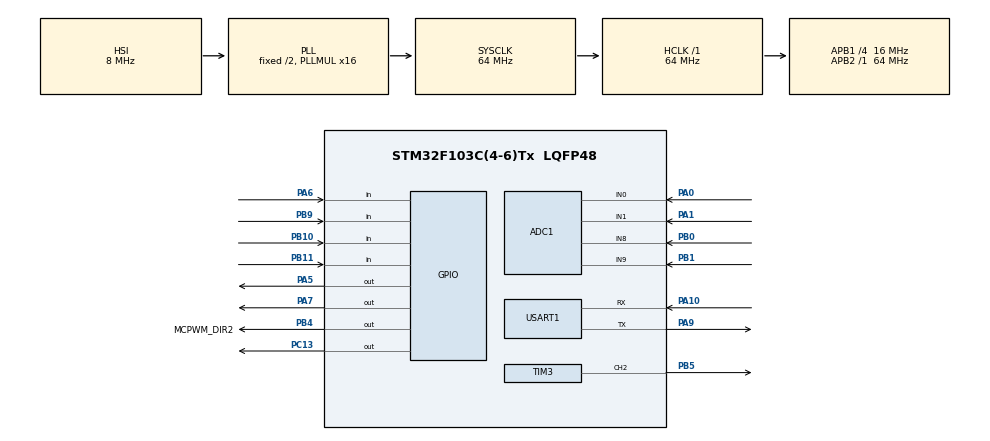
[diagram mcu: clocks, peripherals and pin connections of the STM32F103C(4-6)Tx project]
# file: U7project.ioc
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ADC1.Channel-6\#ChannelRegularConversion=ADC_CHANNEL_8
ADC1.NbrOfConversionFlag=1
ADC1.Rank-6\#ChannelRegularConversion=1
ADC1.SamplingTime-6\#ChannelRegularConversion=ADC_SAMPLETIME_1CYCLE_5
ADC1.master=1
Dma.Request0=USART1_RX
Dma.USART1_RX.0.Direction=DMA_PERIPH_TO_MEMORY
Dma.USART1_RX.0.Instance=DMA1_Channel5
Dma.USART1_RX.0.MemDataAlignment=DMA_MDATAALIGN_BYTE
Dma.USART1_RX.0.MemInc=DMA_MINC_ENABLE
Dma.USART1_RX.0.Mode=DMA_CIRCULAR
Dma.USART1_RX.0.PeriphDataAlignment=DMA_PDATAALIGN_BYTE
Dma.USART1_RX.0.PeriphInc=DMA_PINC_DISABLE
Dma.USART1_RX.0.Priority=DMA_PRIORITY_LOW
Mcu.Family=STM32F1
Mcu.Name=STM32F103C(4-6)Tx
Mcu.Package=LQFP48
NVIC.DMA1_Channel5_IRQn=true\:0\:0\:false\:false\:true\:false\:true\:true
NVIC.PriorityGroup=NVIC_PRIORITYGROUP_4
NVIC.TIM3_IRQn=true\:0\:0\:false\:false\:true\:true\:true\:true
NVIC.USART1_IRQn=true\:0\:0\:false\:false\:true\:true\:true\:true
PA0-WKUP.Signal=ADCx_IN0
PA1.Signal=ADCx_IN1
PA10.Mode=Asynchronous
PA10.Signal=USART1_RX
PA13.Mode=Serial_Wire
PA13.Signal=SYS_JTMS-SWDIO
PA14.Mode=Serial_Wire
PA14.Signal=SYS_JTCK-SWCLK
PA2.Signal=USART2_TX
PA5.PinState=GPIO_PIN_SET
PA5.Signal=GPIO_Output
PA6.Signal=GPIO_Input
PA7.Signal=GPIO_Output
PA9.Mode=Asynchronous
PA9.Signal=USART1_TX
PB0.Signal=ADCx_IN8
PB1.Signal=ADCx_IN9
PB10.Signal=GPIO_Input
PB11.Signal=GPIO_Input
PB4.GPIO_Label=MCPWM_DIR2
PB4.Signal=GPIO_Output
PB5.Signal=S_TIM3_CH2
PB9.Signal=GPIO_Input
PC13-TAMPER-RTC.Signal=GPIO_Output
ProjectManager.HeapSize=0x200
ProjectManager.StackSize=0x400
ProjectManager.TargetToolchain=MDK-ARM V5.32
RCC.ADCPresc=RCC_ADCPCLK2_DIV8
RCC.AHBFreq_Value=64000000
RCC.APB1CLKDivider=RCC_HCLK_DIV4
RCC.APB1Freq_Value=16000000
RCC.APB1TimFreq_Value=32000000
RCC.APB2Freq_Value=64000000
RCC.APB2TimFreq_Value=64000000
RCC.HCLKFreq_Value=64000000
RCC.PLLMUL=RCC_PLL_MUL16
RCC.SYSCLKFreq_VALUE=64000000
RCC.SYSCLKSource=RCC_SYSCLKSOURCE_PLLCLK
RCC.USBFreq_Value=64000000
SH.ADCx_IN0.0=ADC1_IN0,IN0
SH.ADCx_IN1.0=ADC1_IN1,IN1
SH.ADCx_IN8.0=ADC1_IN8,IN8
SH.ADCx_IN9.0=ADC1_IN9,IN9
SH.S_TIM3_CH2.0=TIM3_CH2,PWM Generation2 CH2
TIM3.Channel-PWM\ Generation2\ CH2=TIM_CHANNEL_2
TIM3.Period=6399
TIM3.Pulse-PWM\ Generation2\ CH2=3200
USART1.VirtualMode=VM_ASYNC
VP_ADC1_Vref_Input.Mode=IN-Vrefint
board=custom

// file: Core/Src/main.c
/* USER CODE BEGIN Header */
/**
  ******************************************************************************
  * @file           : main.c
  * @brief          : Main program body
  ******************************************************************************
  * @attention
  *
  * Copyright (c) 2026 STMicroelectronics.
  * All rights reserved.
  *
  * This software is licensed under terms that can be found in the LICENSE file
  * in the root directory of this software component.
  * If no LICENSE file comes with this software, it is provided AS-IS.
  *
  ******************************************************************************
  */
/* USER CODE END Header */
#include "main.h"
#include "adc.h"
#include "dma.h"
#include "tim.h"
#include "usart.h"
#include "gpio.h"

/* USER CODE BEGIN Includes */
#include "bsp_gpio.h"
#include "bsp_uart.h"
#include "bsp_tmc2209.h"
#include "bsp_motor.h"
#include "bsp_adc.h"
#include "protocol.h"
/* USER CODE END Includes */

void SystemClock_Config(void);

int main(void)
{

  /* MCU Configuration--------------------------------------------------------*/

  /* Reset of all peripherals, Initializes the Flash interface and the Systick. */
  HAL_Init();

  /* Configure the system clock */
  SystemClock_Config();

  /* Initialize all configured peripherals */
  MX_GPIO_Init();                    /* 步骤1 */
  MX_DMA_Init();                     /* 步骤2 */
  MX_TIM3_Init();                    /* 步骤3: TIM3 PWM (STEP 脉冲), 已修复 AFIO 重映射顺序 */
  MX_USART1_UART_Init();             /* 步骤4 */
  MX_ADC1_Init();                    /* 步骤5 */
  /* USER CODE BEGIN 2 */
  BSP_GPIO_Init();
  BSP_UART_Init();
  USART1->CR1 |= USART_CR1_RE;
  BSP_ADC_Init();

#if U7_TMC_PRINT
  /* [2026-08-21] 归入 U7_TMC_PRINT (默认 0): 上电零输出, 防污染 U1 RX DMA。
   * 诊断: 发送 USART1 寄存器值 + ADC 验证 (仅 USB-TTL 直连 U7 调试用) */
  {
      uint16_t cr1 = USART1->CR1, sr = USART1->SR;
      char hex[] = "0123456789ABCDEF";
      USART1->DR = 'C'; while(!(USART1->SR&USART_SR_TC));
      USART1->DR = '1'; while(!(USART1->SR&USART_SR_TC));
      USART1->DR = '='; while(!(USART1->SR&USART_SR_TC));
      USART1->DR = hex[(cr1>>12)&0xF]; while(!(USART1->SR&USART_SR_TC));
      USART1->DR = hex[(cr1>>8)&0xF]; while(!(USART1->SR&USART_SR_TC));
      USART1->DR = hex[(cr1>>4)&0xF]; while(!(USART1->SR&USART_SR_TC));
      USART1->DR = hex[cr1&0xF]; while(!(USART1->SR&USART_SR_TC));
      USART1->DR = ' '; while(!(USART1->SR&USART_SR_TC));
      USART1->DR = 'S'; while(!(USART1->SR&USART_SR_TC));
      USART1->DR = '='; while(!(USART1->SR&USART_SR_TC));
      USART1->DR = hex[(sr>>8)&0xF]; while(!(USART1->SR&USART_SR_TC));
      USART1->DR = hex[(sr>>4)&0xF]; while(!(USART1->SR&USART_SR_TC));
      USART1->DR = hex[sr&0xF]; while(!(USART1->SR&USART_SR_TC));
      USART1->DR = '\r'; while(!(USART1->SR&USART_SR_TC));
      USART1->DR = '\n'; while(!(USART1->SR&USART_SR_TC));
  }

  /* ADC 验证输出 */
  {
      uint8_t ok; uint16_t r = BSP_ADC_ReadRaw(ADC_CH_ADC0, &ok);
      USART1->DR = '\r'; while(!(USART1->SR&USART_SR_TC));
      USART1->DR = '\n'; while(!(USART1->SR&USART_SR_TC));
      USART1->DR = 'A'; while(!(USART1->SR&USART_SR_TC));
      USART1->DR = 'D'; while(!(USART1->SR&USART_SR_TC));
      USART1->DR = 'C'; while(!(USART1->SR&USART_SR_TC));
      USART1->DR = '='; while(!(USART1->SR&USART_SR_TC));
      USART1->DR = ok ? '1' : '0'; while(!(USART1->SR&USART_SR_TC));
      USART1->DR = '\r'; while(!(USART1->SR&USART_SR_TC));
      USART1->DR = '\n'; while(!(USART1->SR&USART_SR_TC));
  }
#endif /* U7_TMC_PRINT */

  /* [2026-08-17] M6 修复: 恢复电机/TMC2209 初始化 (此前被注释, TMC 靠上电默认值运行,
   * 细分不确定; 此处按备份版本恢复: 检测到 TMC 在线则显式配置 16 细分等参数)
   * [2026-08-18] 排障开关: 若怀疑 TMC 初始化导致 U7 异常, 定义 U7_SKIP_TMC_CFG
   * 可跳过 (电机退化为 TMC 上电默认配置) */
#if U7_DEBUG
  /* [2026-08-19 15:5x] 诊断: 上电自动跑 TMC2209 完整自检
   * (通信/回环/地址扫描/写配置/读回验证/故障标志), 输出走 USART1(PA9),
   * 用 USB-TTL 监听即可判断 SetDefaults 是否真正写入成功 + 有无 S2G/OLA/OT 故障 */
  BSP_TMC_Test();
#endif /* U7_DEBUG */

#ifndef U7_SKIP_TMC_CFG
  /* [2026-08-21] ★TMC 配置可靠性: IsAlive/SetDefaults 失败整轮重试 (最多 3 轮, 轮间 50ms)。
   * 此前 IsAlive 失败或 SetDefaults 写入偶发失败(无验证)时, 微步在 16/8 之间漂移,
   * 导致回零行程/定点位置/失步行为随机 (实测 3200 步有时=1圈有时=2圈)。 */
  {
      uint8_t tmc_cfg_ok = 0;
      uint8_t i;
      BSP_TMC_Init();
      for (i = 0; i < 3 && !tmc_cfg_ok; i++) {
          if (BSP_TMC_IsAlive()) {
              tmc_cfg_ok = BSP_TMC_SetDefaults();   /* 内部每寄存器读回验证+重试 */
          }
          if (!tmc_cfg_ok) HAL_Delay(50);
      }
#if U7_TMC_PRINT
      /* [2026-08-21] 包 U7_TMC_PRINT: 上电零输出, 防污染 U1 RX DMA (见 bsp_tmc2209.h 注释)。
       * 打印配置结果: 成功=微步16/电流已生效; 失败=继续用硬件默认8微步, 位置换算将错2倍! */
      {
          const char *s = tmc_cfg_ok ? "TMC CFG OK (16ustep)\r\n"
                                     : "TMC CFG FAIL (8ustep default!)\r\n";
          while (*s) {
              while (!(USART1->SR & USART_SR_TXE));
              USART1->DR = (uint8_t)(*s++);
          }
      }
#endif
      BSP_TMC_Deinit();  /* 归还 TIM3 给电机 PWM */
  }
#endif /* U7_SKIP_TMC_CFG */
  BSP_Motor_Init();

  PROTO_Init();
  while (1) {
    PROTO_Run();
  }
  /* USER CODE END 2 */
  /* USER CODE END 3 */
}

void SystemClock_Config(void)
{
  RCC_OscInitTypeDef RCC_OscInitStruct = {0};
  RCC_ClkInitTypeDef RCC_ClkInitStruct = {0};
  RCC_PeriphCLKInitTypeDef PeriphClkInit = {0};

  /** Initializes the RCC Oscillators according to the specified parameters
  * in the RCC_OscInitTypeDef structure.
  */
  RCC_OscInitStruct.OscillatorType = RCC_OSCILLATORTYPE_HSI;
  RCC_OscInitStruct.HSIState = RCC_HSI_ON;
  RCC_OscInitStruct.HSICalibrationValue = RCC_HSICALIBRATION_DEFAULT;
  RCC_OscInitStruct.PLL.PLLState = RCC_PLL_ON;
  RCC_OscInitStruct.PLL.PLLSource = RCC_PLLSOURCE_HSI_DIV2;
  RCC_OscInitStruct.PLL.PLLMUL = RCC_PLL_MUL16;
  if (HAL_RCC_OscConfig(&RCC_OscInitStruct) != HAL_OK)
  {
    Error_Handler();
  }

  /** Initializes the CPU, AHB and APB buses clocks
  */
  RCC_ClkInitStruct.ClockType = RCC_CLOCKTYPE_HCLK|RCC_CLOCKTYPE_SYSCLK
                              |RCC_CLOCKTYPE_PCLK1|RCC_CLOCKTYPE_PCLK2;
  RCC_ClkInitStruct.SYSCLKSource = RCC_SYSCLKSOURCE_PLLCLK;
  RCC_ClkInitStruct.AHBCLKDivider = RCC_SYSCLK_DIV1;
  RCC_ClkInitStruct.APB1CLKDivider = RCC_HCLK_DIV4;
  RCC_ClkInitStruct.APB2CLKDivider = RCC_HCLK_DIV1;

  if (HAL_RCC_ClockConfig(&RCC_ClkInitStruct, FLASH_LATENCY_2) != HAL_OK)
  {
    Error_Handler();
  }
  PeriphClkInit.PeriphClockSelection = RCC_PERIPHCLK_ADC;
  PeriphClkInit.AdcClockSelection = RCC_ADCPCLK2_DIV8;
  if (HAL_RCCEx_PeriphCLKConfig(&PeriphClkInit) != HAL_OK)
  {
    Error_Handler();
  }
}

void Error_Handler(void)
{
  __disable_irq();
  while (1)
  {
  }
}
